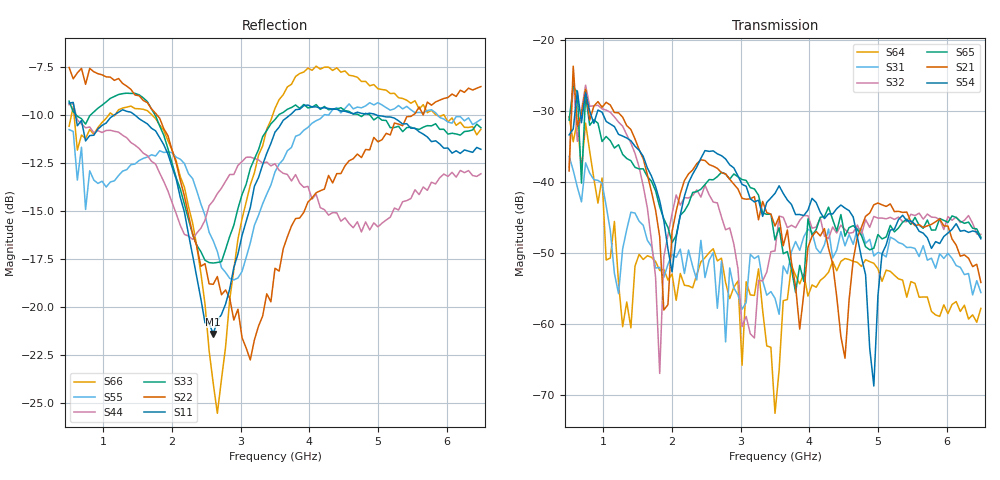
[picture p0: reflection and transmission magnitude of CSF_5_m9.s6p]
!Keysight Technologies,M9804A,MY58100912,A.14.10.03
!Date: Thursday, April 27, 2023 10:28:33
!Correction: S11(C  6-Port  )
!S12(C  6-Port  )
!S13(C  6-Port  )
!S14(C  6-Port  )
!S15(C  6-Port  )
!S16(C  6-Port  )
!S21(C  6-Port  )
!S22(C  6-Port  )
!S23(C  6-Port  )
!S24(C  6-Port  )
!S25(C  6-Port  )
!S26(C  6-Port  )
!S31(C  6-Port  )
!S32(C  6-Port  )
!S33(C  6-Port  )
!S34(C  6-Port  )
!S35(C  6-Port  )
!S36(C  6-Port  )
!S41(C  6-Port  )
!S42(C  6-Port  )
!S43(C  6-Port  )
!S44(C  6-Port  )
!S45(C  6-Port  )
!S46(C  6-Port  )
!S51(C  6-Port  )
!S52(C  6-Port  )
!S53(C  6-Port  )
!S54(C  6-Port  )
!S55(C  6-Port  )
!S56(C  6-Port  )
!S61(C  6-Port  )
!S62(C  6-Port  )
!S63(C  6-Port  )
!S64(C  6-Port  )
!S65(C  6-Port  )
!S66(C  6-Port  )
!S6P File: Measurement: :
# Hz S  RI  R 50
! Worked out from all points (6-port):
!   101 points, 500 MHz to 6.5 GHz, reference 50 ohm
!   strongest paths, dB at 500 MHz, 2 GHz, 3.5 GHz, 5 GHz, 6.5 GHz:
!     S54: -33.3, -52.7, -41.6, -56.0, -48.0
!     S21: -38.4, -47.0, -46.2, -42.9, -54.2
!     S65: -31.2, -48.5, -48.2, -47.4, -47.8
!     S32: -37.8, -44.5, -49.7, -45.1, -47.4
!     S31: -36.4, -50.2, -56.4, -49.9, -55.6
!     S64: -30.8, -53.0, -72.6, -52.2, -57.8
!   lowest |S11| = -21.4 dB at 2.6 GHz (marker M1), VSWR 1.19, Z = 42.5 + j2.26 ohm
!   |S11| at or under -10 dB: 593 MHz to 1.152 GHz (558.5 MHz wide, 64 % of centre); 1.463 GHz to 3.714 GHz (2.251 GHz wide, 87 % of centre); 4.986 GHz to end of sweep
